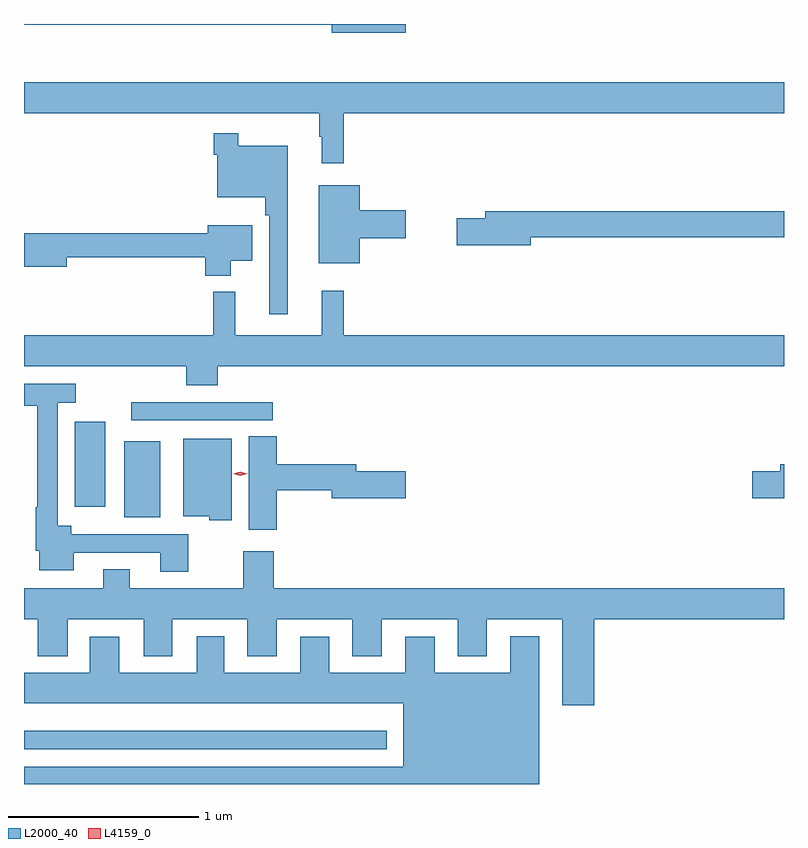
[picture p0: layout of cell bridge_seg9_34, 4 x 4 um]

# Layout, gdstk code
import gdstk
lib = gdstk.Library(unit=1e-6, precision=1e-09)
def R(c, l, rs):  # rectangles x0, y0, x1, y1
    for r in rs: c.add(gdstk.rectangle(r[:2], r[2:], *l))
def P(c, l, *ps):  # polygons
    for p in ps: c.add(gdstk.Polygon(p, *l))
L2000_40 = (2000, 40)
L4159_0 = (4159, 0)

bridge_seg9_34 = lib.new_cell('bridge_seg9_34')
R(bridge_seg9_34, L2000_40, [(983.57,1169.097,985.48,1169.194), (984.098,1170.317,984.286,1170.718), (983.837,1170.372,983.998,1170.82), (984.135,1170.828,984.88,1170.924)])
P(bridge_seg9_34, L2000_40, [(985.579,1172.914),(983.57,1172.914),(983.57,1172.91),(985.19,1172.91),(985.19,1172.867),(985.579,1172.867)],
  [(985.253,1172.444),(987.57,1172.444),(987.57,1172.608),(983.57,1172.608),(983.57,1172.444),(985.125,1172.444),(985.125,1172.321),(985.136,1172.321),(985.136,1172.181),(985.253,1172.181)],
  [(984.958,1172.272),(984.697,1172.272),(984.697,1172.338),(984.568,1172.338),(984.568,1172.225),(984.588,1172.225),(984.588,1172.003),(984.841,1172.003),(984.841,1171.907),(984.861,1171.907),(984.861,1171.386),(984.958,1171.386)],
  [(985.336,1171.787),(985.579,1171.787),(985.579,1171.934),(985.336,1171.934),(985.336,1172.065),(985.121,1172.065),(985.121,1171.655),(985.336,1171.655)],
  [(986.236,1171.792),(987.57,1171.792),(987.57,1171.928),(985.997,1171.928),(985.997,1171.892),(985.848,1171.892),(985.848,1171.75),(986.236,1171.75)],
  [(984.658,1171.667),(984.772,1171.667),(984.772,1171.855),(984.536,1171.855),(984.536,1171.814),(983.57,1171.814),(983.57,1171.636),(983.794,1171.636),(983.794,1171.686),(984.524,1171.686),(984.524,1171.589),(984.658,1171.589)],
  [(984.59,1171.112),(987.57,1171.112),(987.57,1171.276),(985.253,1171.276),(985.253,1171.51),(985.136,1171.51),(985.136,1171.276),(984.683,1171.276),(984.683,1171.504),(984.565,1171.504),(984.565,1171.276),(983.57,1171.276),(983.57,1171.112),(984.425,1171.112),(984.425,1171.013),(984.59,1171.013)],
  [(984.435,1170.228),(983.818,1170.228),(983.818,1170.274),(983.748,1170.274),(983.748,1170.92),(983.842,1170.92),(983.842,1171.02),(983.57,1171.02),(983.57,1170.904),(983.64,1170.904),(983.64,1170.37),(983.632,1170.37),(983.632,1170.142),(983.651,1170.142),(983.651,1170.038),(983.833,1170.038),(983.833,1170.132),(984.287,1170.132),(984.287,1170.03),(984.435,1170.03)],
  [(984.899,1170.46),(985.19,1170.46),(985.19,1170.418),(985.579,1170.418),(985.579,1170.56),(985.318,1170.56),(985.318,1170.596),(984.899,1170.596),(984.899,1170.743),(984.752,1170.743),(984.752,1170.252),(984.899,1170.252)],
  [(984.664,1170.73),(984.407,1170.73),(984.407,1170.323),(984.546,1170.323),(984.546,1170.302),(984.664,1170.302)],
  [(987.57,1170.596),(987.551,1170.596),(987.551,1170.56),(987.402,1170.56),(987.402,1170.418),(987.57,1170.418)],
  [(986.57,1169.78),(987.57,1169.78),(987.57,1169.944),(984.884,1169.944),(984.884,1170.139),(984.724,1170.139),(984.724,1169.944),(984.127,1169.944),(984.127,1170.043),(983.987,1170.043),(983.987,1169.944),(983.57,1169.944),(983.57,1169.78),(983.642,1169.78),(983.642,1169.586),(983.8,1169.586),(983.8,1169.78),(984.2,1169.78),(984.2,1169.586),(984.349,1169.586),(984.349,1169.78),(984.746,1169.78),(984.746,1169.586),(984.901,1169.586),(984.901,1169.78),(985.298,1169.78),(985.298,1169.586),(985.453,1169.586),(985.453,1169.78),(985.853,1169.78),(985.853,1169.586),(986.005,1169.586),(986.005,1169.78),(986.402,1169.78),(986.402,1169.328),(986.57,1169.328)],
  [(986.281,1169.692),(986.129,1169.692),(986.129,1169.5),(985.732,1169.5),(985.732,1169.689),(985.577,1169.689),(985.577,1169.5),(985.177,1169.5),(985.177,1169.689),(985.025,1169.689),(985.025,1169.5),(984.625,1169.5),(984.625,1169.692),(984.479,1169.692),(984.479,1169.5),(984.07,1169.5),(984.07,1169.689),(983.915,1169.689),(983.915,1169.5),(983.57,1169.5),(983.57,1169.339),(985.565,1169.339),(985.565,1169.005),(983.57,1169.005),(983.57,1168.914),(986.281,1168.914)])
P(bridge_seg9_34, L4159_0, [(984.709,1170.537),(984.671,1170.546),(984.671,1170.546),(984.671,1170.547),(984.709,1170.557),(984.746,1170.547),(984.747,1170.547),(984.746,1170.546)])

lib.write_gds('bridge_seg9_34.gds')
